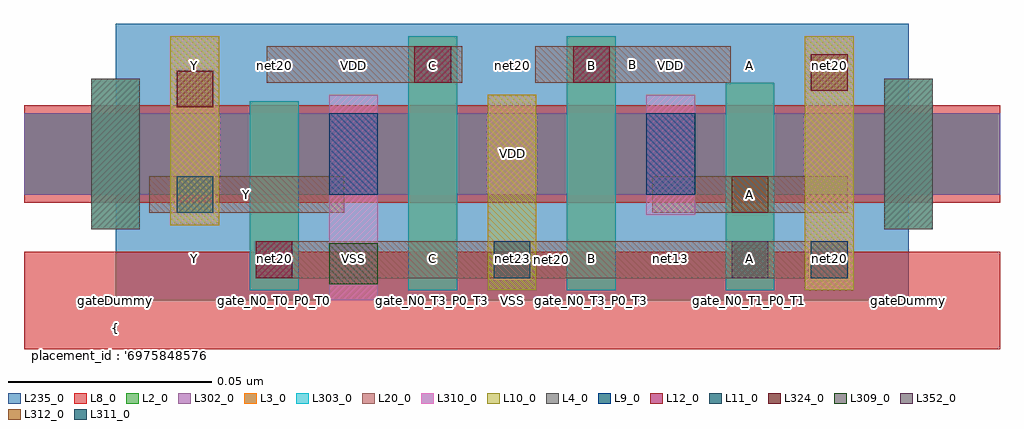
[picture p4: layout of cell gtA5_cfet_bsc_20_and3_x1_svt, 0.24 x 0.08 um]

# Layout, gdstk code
import gdstk
lib = gdstk.Library(unit=1e-6, precision=2.5e-10)
def R(c, l, rs):  # rectangles x0, y0, x1, y1
    for r in rs: c.add(gdstk.rectangle(r[:2], r[2:], *l))
L2_0 = (2, 0)
L3_0 = (3, 0)
L4_0 = (4, 0)
L8_0 = (8, 0)
L9_0 = (9, 0)
L10_0 = (10, 0)
L11_0 = (11, 0)
L12_0 = (12, 0)
L20_0 = (20, 0)
L235_0 = (235, 0)
L302_0 = (302, 0)
L303_0 = (303, 0)
L309_0 = (309, 0)
L310_0 = (310, 0)
L311_0 = (311, 0)
L312_0 = (312, 0)
L324_0 = (324, 0)
L352_0 = (352, 0)

gta5_cfet_bsc_20_and3_x1 = lib.new_cell('gtA5_cfet_bsc_20_and3_x1_svt')
R(gta5_cfet_bsc_20_and3_x1, L2_0, [(-0.0225,0.026,0.2175,0.046)])
R(gta5_cfet_bsc_20_and3_x1, L3_0, [(0.033,0.0025,0.045,0.049), (0.072,0.0025,0.084,0.065), (0.111,0.0025,0.123,0.065), (0.15,0.0025,0.162,0.0535), (-0.006,0.0175,0.006,0.0545), (0.189,0.0175,0.201,0.0545)])
R(gta5_cfet_bsc_20_and3_x1, L4_0, [(-0.006,0.0175,0.006,0.0545), (0.189,0.0175,0.201,0.0545)])
R(gta5_cfet_bsc_20_and3_x1, L8_0, [(-0.0225,-0.012,0.2175,0.012), (-0.0225,0.024,0.2175,0.048)])
R(gta5_cfet_bsc_20_and3_x1, L9_0, [(0.0525,0.026,0.0645,0.046), (0.1305,0.026,0.1425,0.046)])
R(gta5_cfet_bsc_20_and3_x1, L10_0, [(0.0915,0.0025,0.1035,0.0505), (0.1695,0.0025,0.1815,0.065), (0.0135,0.0185,0.0255,0.065)])
R(gta5_cfet_bsc_20_and3_x1, L11_0, [(0.093,0.0055,0.102,0.0145), (0.171,0.0055,0.18,0.0145)])
R(gta5_cfet_bsc_20_and3_x1, L12_0, [(0.0345,0.0055,0.0435,0.0145), (0.0735,0.0535,0.0825,0.0625), (0.1125,0.0535,0.1215,0.0625)])
R(gta5_cfet_bsc_20_and3_x1, L20_0, [(0.0345,0.0055,0.18,0.0145), (0.0083,0.0215,0.0563,0.0305), (0.132,0.0215,0.18,0.0305), (0.0372,0.0535,0.0853,0.0625), (0.1033,0.0535,0.1512,0.0625)])
R(gta5_cfet_bsc_20_and3_x1, L235_0, [(0,0,0.195,0.068)])
R(gta5_cfet_bsc_20_and3_x1, L302_0, [(-0.0225,0.026,0.2175,0.046)])
R(gta5_cfet_bsc_20_and3_x1, L303_0, [(0.033,0.0025,0.045,0.049), (0.072,0.0025,0.084,0.065), (0.111,0.0025,0.123,0.065), (0.15,0.0025,0.162,0.0535), (-0.006,0.0175,0.006,0.0545), (0.189,0.0175,0.201,0.0545)])
R(gta5_cfet_bsc_20_and3_x1, L309_0, [(0.0525,0.004,0.0645,0.014)])
R(gta5_cfet_bsc_20_and3_x1, L310_0, [(0.0525,0,0.0645,0.0505), (0.1695,0.0025,0.1815,0.065), (0.0135,0.0185,0.0255,0.065), (0.1305,0.021,0.1425,0.0505), (0.0915,0.026,0.1035,0.0505)])
R(gta5_cfet_bsc_20_and3_x1, L311_0, [(0.015,0.0215,0.024,0.0305)])
R(gta5_cfet_bsc_20_and3_x1, L312_0, [(0.1515,0.0215,0.1605,0.0305)])
R(gta5_cfet_bsc_20_and3_x1, L324_0, [(0.015,0.0475,0.024,0.0565), (0.171,0.0515,0.18,0.0605)])
R(gta5_cfet_bsc_20_and3_x1, L352_0, [(0.1515,0.0055,0.1605,0.0145)])
gta5_cfet_bsc_20_and3_x1.add(gdstk.Label('net20', (0.1072,0.01), layer=100, texttype=100))
gta5_cfet_bsc_20_and3_x1.add(gdstk.Label('gateDummy', (0,0), layer=103, texttype=103))
gta5_cfet_bsc_20_and3_x1.add(gdstk.Label('sd_N0_T1_P0_T1', (0.0195,0), layer=103, texttype=103))
gta5_cfet_bsc_20_and3_x1.add(gdstk.Label('gate_N0_T0_P0_T0', (0.039,0), layer=103, texttype=103))
gta5_cfet_bsc_20_and3_x1.add(gdstk.Label('sd_N0_VSS_P0_VDD', (0.0585,0), layer=103, texttype=103))
gta5_cfet_bsc_20_and3_x1.add(gdstk.Label('gate_N0_T3_P0_T3', (0.078,0), layer=103, texttype=103))
gta5_cfet_bsc_20_and3_x1.add(gdstk.Label('sd_N0_abut_P0_T0', (0.0975,0), layer=103, texttype=103))
gta5_cfet_bsc_20_and3_x1.add(gdstk.Label('gate_N0_T3_P0_T3', (0.117,0), layer=103, texttype=103))
gta5_cfet_bsc_20_and3_x1.add(gdstk.Label('sd_P0_VDD', (0.1365,0), layer=103, texttype=103))
gta5_cfet_bsc_20_and3_x1.add(gdstk.Label('gate_N0_T1_P0_T1', (0.156,0), layer=103, texttype=103))
gta5_cfet_bsc_20_and3_x1.add(gdstk.Label('sd_N0_T0_P0_T0', (0.1755,0), layer=103, texttype=103))
gta5_cfet_bsc_20_and3_x1.add(gdstk.Label('gateDummy', (0.195,0), layer=103, texttype=103))
gta5_cfet_bsc_20_and3_x1.add(gdstk.Label('}', (0,-0.0742), layer=104, texttype=104))
gta5_cfet_bsc_20_and3_x1.add(gdstk.Label('  power : None', (0,-0.0675), layer=104, texttype=104))
gta5_cfet_bsc_20_and3_x1.add(gdstk.Label('  performance : None', (0,-0.0607), layer=104, texttype=104))
gta5_cfet_bsc_20_and3_x1.add(gdstk.Label("  solution_hash : '10218874807893646612'", (0,-0.054), layer=104, texttype=104))
gta5_cfet_bsc_20_and3_x1.add(gdstk.Label('  number_m2 : 0', (0,-0.0473), layer=104, texttype=104))
gta5_cfet_bsc_20_and3_x1.add(gdstk.Label('  number_m1 : 0', (0,-0.0405), layer=104, texttype=104))
gta5_cfet_bsc_20_and3_x1.add(gdstk.Label('  number_m0cuts : 0', (0,-0.0338), layer=104, texttype=104))
gta5_cfet_bsc_20_and3_x1.add(gdstk.Label('  number_m0 : 5', (0,-0.027), layer=104, texttype=104))
gta5_cfet_bsc_20_and3_x1.add(gdstk.Label("  solution_number : '0000'", (0,-0.0203), layer=104, texttype=104))
gta5_cfet_bsc_20_and3_x1.add(gdstk.Label("  placement_id : '6975848576657765118'", (0,-0.0135), layer=104, texttype=104))
gta5_cfet_bsc_20_and3_x1.add(gdstk.Label('{', (0,-0.0067), layer=104, texttype=104))
gta5_cfet_bsc_20_and3_x1.add(gdstk.Label('Y', (0.0195,0.0103), layer=105, texttype=105))
gta5_cfet_bsc_20_and3_x1.add(gdstk.Label('net20', (0.039,0.0103), layer=105, texttype=105))
gta5_cfet_bsc_20_and3_x1.add(gdstk.Label('VSS', (0.0585,0.0103), layer=105, texttype=105))
gta5_cfet_bsc_20_and3_x1.add(gdstk.Label('C', (0.078,0.0103), layer=105, texttype=105))
gta5_cfet_bsc_20_and3_x1.add(gdstk.Label('net23', (0.0975,0.0103), layer=105, texttype=105))
gta5_cfet_bsc_20_and3_x1.add(gdstk.Label('B', (0.117,0.0103), layer=105, texttype=105))
gta5_cfet_bsc_20_and3_x1.add(gdstk.Label('net13', (0.1365,0.0103), layer=105, texttype=105))
gta5_cfet_bsc_20_and3_x1.add(gdstk.Label('A', (0.156,0.0103), layer=105, texttype=105))
gta5_cfet_bsc_20_and3_x1.add(gdstk.Label('net20', (0.1755,0.0103), layer=105, texttype=105))
gta5_cfet_bsc_20_and3_x1.add(gdstk.Label('Y', (0.0195,0.0578), layer=105, texttype=105))
gta5_cfet_bsc_20_and3_x1.add(gdstk.Label('net20', (0.039,0.0578), layer=105, texttype=105))
gta5_cfet_bsc_20_and3_x1.add(gdstk.Label('VDD', (0.0585,0.0578), layer=105, texttype=105))
gta5_cfet_bsc_20_and3_x1.add(gdstk.Label('C', (0.078,0.0578), layer=105, texttype=105))
gta5_cfet_bsc_20_and3_x1.add(gdstk.Label('net20', (0.0975,0.0578), layer=105, texttype=105))
gta5_cfet_bsc_20_and3_x1.add(gdstk.Label('B', (0.117,0.0578), layer=105, texttype=105))
gta5_cfet_bsc_20_and3_x1.add(gdstk.Label('VDD', (0.1365,0.0578), layer=105, texttype=105))
gta5_cfet_bsc_20_and3_x1.add(gdstk.Label('A', (0.156,0.0578), layer=105, texttype=105))
gta5_cfet_bsc_20_and3_x1.add(gdstk.Label('net20', (0.1755,0.0578), layer=105, texttype=105))
gta5_cfet_bsc_20_and3_x1.add(gdstk.Label('VSS', (0.0975,0), layer=8, texttype=0))
gta5_cfet_bsc_20_and3_x1.add(gdstk.Label('VDD', (0.0975,0.036), layer=8, texttype=0))
gta5_cfet_bsc_20_and3_x1.add(gdstk.Label('Y', (0.0323,0.026), layer=20, texttype=251))
gta5_cfet_bsc_20_and3_x1.add(gdstk.Label('A', (0.156,0.026), layer=20, texttype=251))
gta5_cfet_bsc_20_and3_x1.add(gdstk.Label('C', (0.0612,0.058), layer=20, texttype=251))
gta5_cfet_bsc_20_and3_x1.add(gdstk.Label('B', (0.1273,0.058), layer=20, texttype=251))
gta5_cfet_bsc_20_and3_x1.add(gdstk.Label('gtA5_cfet_bsc_20nm_and3_x1_rvt_0', (0,0), layer=235, texttype=0))

lib.write_gds('gtA5_cfet_bsc_20_and3_x1_svt.gds')
